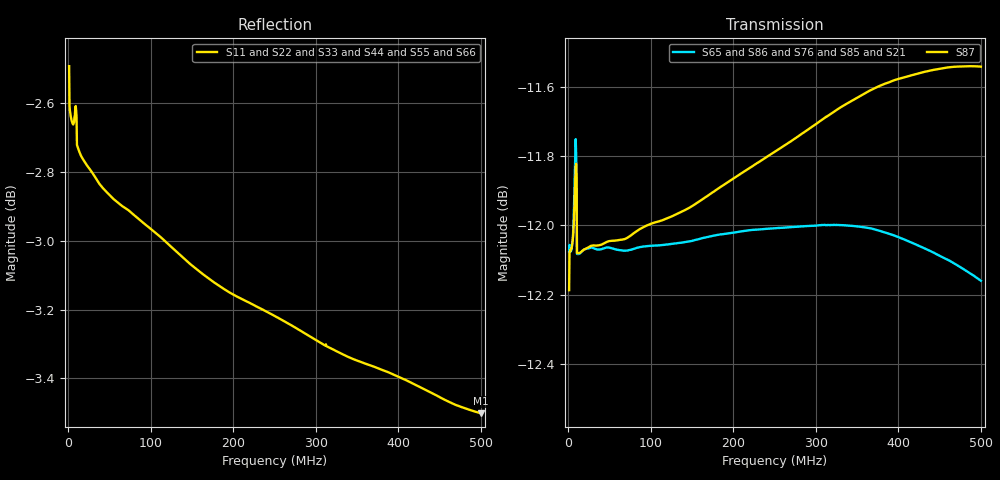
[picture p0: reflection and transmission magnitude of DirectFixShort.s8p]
!Agilent Technologies,M9370A,MY54322275,A.02.50.04
!Agilent M9370A: A.02.50.04
!Date: Friday, April 06, 2018 11:10:20
!Correction: S11(Full 8 Port(1,2,3,4,5,6,7,8))
!S12(Full 8 Port(1,2,3,4,5,6,7,8))
!S13(Full 8 Port(1,2,3,4,5,6,7,8))
!S14(Full 8 Port(1,2,3,4,5,6,7,8))
!S15(Full 8 Port(1,2,3,4,5,6,7,8))
!S16(Full 8 Port(1,2,3,4,5,6,7,8))
!S17(Full 8 Port(1,2,3,4,5,6,7,8))
!S18(Full 8 Port(1,2,3,4,5,6,7,8))
!S21(Full 8 Port(1,2,3,4,5,6,7,8))
!S22(Full 8 Port(1,2,3,4,5,6,7,8))
!S23(Full 8 Port(1,2,3,4,5,6,7,8))
!S24(Full 8 Port(1,2,3,4,5,6,7,8))
!S25(Full 8 Port(1,2,3,4,5,6,7,8))
!S26(Full 8 Port(1,2,3,4,5,6,7,8))
!S27(Full 8 Port(1,2,3,4,5,6,7,8))
!S28(Full 8 Port(1,2,3,4,5,6,7,8))
!S31(Full 8 Port(1,2,3,4,5,6,7,8))
!S32(Full 8 Port(1,2,3,4,5,6,7,8))
!S33(Full 8 Port(1,2,3,4,5,6,7,8))
!S34(Full 8 Port(1,2,3,4,5,6,7,8))
!S35(Full 8 Port(1,2,3,4,5,6,7,8))
!S36(Full 8 Port(1,2,3,4,5,6,7,8))
!S37(Full 8 Port(1,2,3,4,5,6,7,8))
!S38(Full 8 Port(1,2,3,4,5,6,7,8))
!S41(Full 8 Port(1,2,3,4,5,6,7,8))
!S42(Full 8 Port(1,2,3,4,5,6,7,8))
!S43(Full 8 Port(1,2,3,4,5,6,7,8))
!S44(Full 8 Port(1,2,3,4,5,6,7,8))
!S45(Full 8 Port(1,2,3,4,5,6,7,8))
!S46(Full 8 Port(1,2,3,4,5,6,7,8))
!S47(Full 8 Port(1,2,3,4,5,6,7,8))
!S48(Full 8 Port(1,2,3,4,5,6,7,8))
!S51(Full 8 Port(1,2,3,4,5,6,7,8))
!S52(Full 8 Port(1,2,3,4,5,6,7,8))
!S53(Full 8 Port(1,2,3,4,5,6,7,8))
!S54(Full 8 Port(1,2,3,4,5,6,7,8))
!S55(Full 8 Port(1,2,3,4,5,6,7,8))
!S56(Full 8 Port(1,2,3,4,5,6,7,8))
!S57(Full 8 Port(1,2,3,4,5,6,7,8))
!S58(Full 8 Port(1,2,3,4,5,6,7,8))
!S61(Full 8 Port(1,2,3,4,5,6,7,8))
!S62(Full 8 Port(1,2,3,4,5,6,7,8))
!S63(Full 8 Port(1,2,3,4,5,6,7,8))
!S64(Full 8 Port(1,2,3,4,5,6,7,8))
!S65(Full 8 Port(1,2,3,4,5,6,7,8))
!S66(Full 8 Port(1,2,3,4,5,6,7,8))
!S67(Full 8 Port(1,2,3,4,5,6,7,8))
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# Hz S  RI  R 50
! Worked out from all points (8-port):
!   1000 points, 1 MHz to 500 MHz, reference 50 ohm
!   strongest paths, dB at 1 MHz, 125.9 MHz, 250.7 MHz, 375.6 MHz, 500 MHz:
!     S87: -12.2, -12.0, -11.8, -11.6, -11.5
!     S65: -12.1, -12.1, -12.0, -12.0, -12.2
!     S86: -12.2, -12.1, -12.1, -12.0, -12.0
!     S76: -12.2, -12.1, -12.1, -12.1, -12.1
!     S85: -12.1, -12.1, -12.1, -12.1, -12.0
!     S21: -12.2, -12.1, -12.1, -12.2, -12.4
!   lowest |S11| = -3.5 dB at 500 MHz (marker M1), VSWR 5.03, Z = 15.4 + j36 ohm
!   |S11| at or under -10 dB: nowhere
